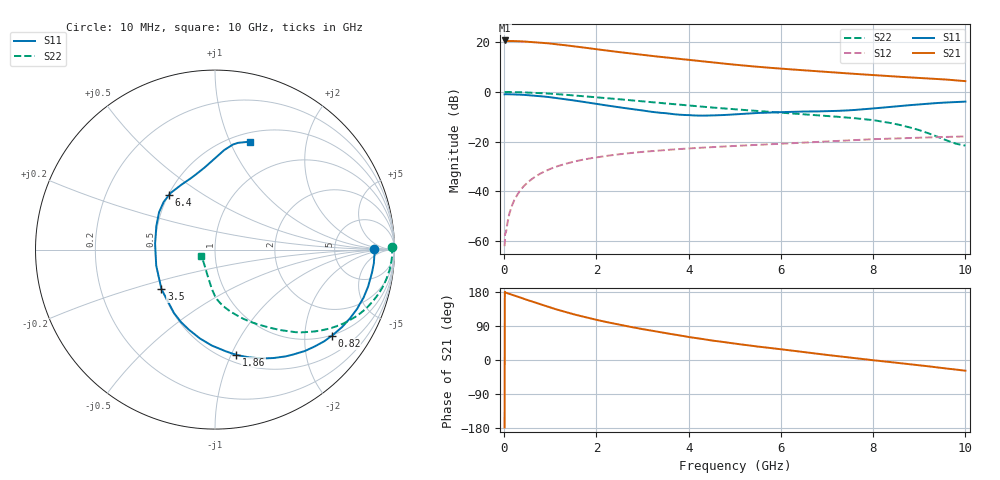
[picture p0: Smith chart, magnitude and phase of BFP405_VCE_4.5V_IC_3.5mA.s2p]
! Infineon Technologies  Discrete & RF Semiconductors
! BFP405
! VCE =  4.5 V,  IC =  3.5 mA
! Common Emitter S-Parameters:  Jan 2016
# GHz  S  MA  R  50
!  f  S11  S21  S12  S22
! GHz  MAG  ANG  MAG  ANG  MAG  ANG  MAG  ANG
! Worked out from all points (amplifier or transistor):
!   233 points, 10 MHz to 10 GHz, reference 50 ohm
!   highest |S21| = 20.6 dB at 10 MHz (marker M1)
!   |S21| within 3 dB of that: start of sweep to 1.788 GHz
!   unconditionally stable (mu >= 1): start of sweep to 17.55 MHz; 3.809 GHz to end of sweep
!   at 200 MHz: K = 0.23, MSG = 32.3 dB, |S12| = -44.3 dB
!   at 1.74 GHz: K = 0.45, MSG = 22.4 dB, |S12| = -27.2 dB
!   at 10 GHz: K = 1.51, MAG = 6.9 dB, |S12| = -17.9 dB
!   S11 on the Smith chart (normalised r, x): 10 MHz: 16, +0; 820 MHz: 0.98, -2.72; 1.86 GHz: 0.57, -1.04; 3.5 GHz: 0.50, -0.25; 6.4 GHz: 0.50, +0.37; 10 GHz: 0.60, +1.19
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0.01  0.8835 0.1  10.65 -178.1  0.0008 -17.4  0.9875 1.0
0.02  0.892 -0.5  10.51 178.0  0.0014 40.7  0.9831 0.1
0.17  0.8849 -7.6  10.35 172.3  0.0052 75.4  0.9851 -3.5
0.4  0.8696 -18.1  10.21 162.6  0.012 76.6  0.9733 -8.2
0.6  0.8442 -26.9  9.933 154.3  0.0177 73.8  0.9585 -12.3
0.82  0.8079 -36.5  9.587 145.4  0.0237 70.1  0.9355 -16.5
1  0.7748 -44.1  9.239 138.4  0.0283 66.9  0.9138 -19.8
1.2  0.7333 -52.5  8.82 131.2  0.033 63.4  0.8869 -23.3
1.4  0.6917 -60.7  8.387 124.2  0.0373 60.2  0.8584 -26.5
1.68  0.633 -71.7  7.78 115.3  0.0428 55.9  0.8179 -30.6
1.86  0.5965 -78.7  7.395 109.9  0.046 53.4  0.7921 -33.0
2.2  0.5349 -91.9  6.741 100.6  0.0514 49.2  0.7452 -37.1
2.6  0.4723 -107.3  6.058 90.6  0.057 44.9  0.6926 -41.5
3  0.4208 -122.9  5.486 81.5  0.0622 41.0  0.6428 -45.7
3.4  0.3767 -139.0  4.983 73.1  0.0667 37.4  0.5943 -49.5
3.5  0.371 -143.5  4.876 70.7  0.0679 36.6  0.5826 -50.5
4.1  0.335 -168.9  4.239 59.0  0.0738 31.9  0.5192 -56.1
5.1  0.3554 155.6  3.413 41.7  0.0826 25.3  0.4366 -65.3
6.4  0.3979 129.9  2.73 22.4  0.0944 18.5  0.3592 -75.4
6.8  0.4028 121.6  2.567 16.5  0.0986 16.2  0.3373 -78.6
8.4  0.4995 91.2  2.038 -5.8  0.115 5.2  0.2337 -92.8
10  0.6329 71.9  1.629 -28.3  0.1268 -5.5  0.083 -155.5
